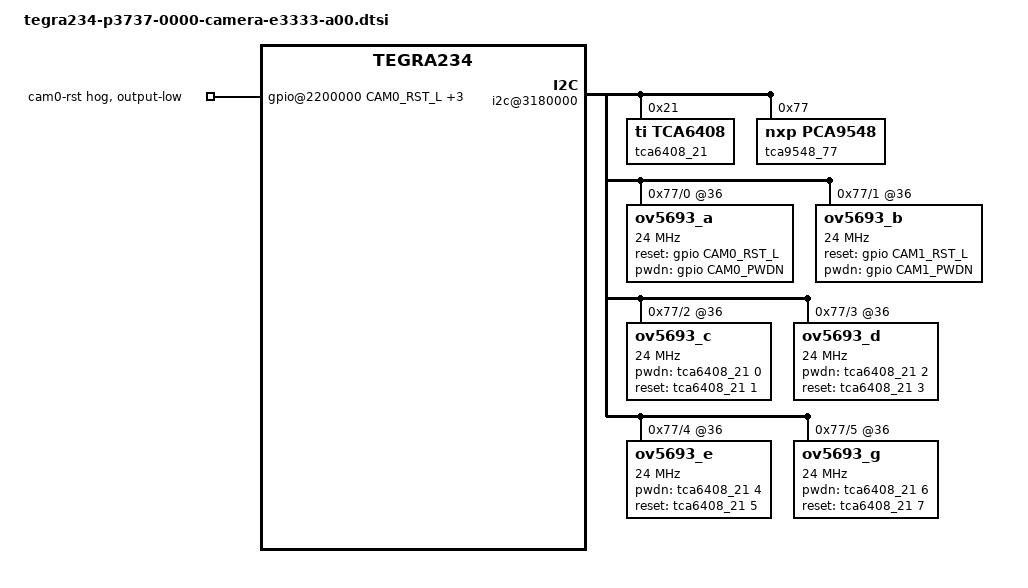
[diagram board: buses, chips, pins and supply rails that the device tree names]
// SPDX-License-Identifier: GPL-2.0
// Copyright (c) 2015-2023, NVIDIA CORPORATION & AFFILIATES. All rights reserved.

#include "tegra234-camera-e3333-a00.dtsi"
#include <dt-bindings/gpio/tegra234-gpio.h>

#define CAM0_RST_L	TEGRA234_MAIN_GPIO(H, 3)
#define CAM0_PWDN	TEGRA234_MAIN_GPIO(H, 6)
#define CAM1_RST_L	TEGRA234_MAIN_GPIO(AC, 1)
#define CAM1_PWDN	TEGRA234_MAIN_GPIO(AC, 0)
#define CAMERA_I2C_MUX_BUS(x) (0x1E + x)

/ {
	fragment-camera-e3333@0 {
		target-path = "/";
		__overlay__ {
			bus@0 {
				gpio@2200000 {
					camera-control-output-low {
						gpio-hog;
						output-low;
						gpios = <CAM0_RST_L 0 CAM0_PWDN 0
								CAM1_RST_L 0 CAM1_PWDN 0>;
						label = "cam0-rst", "cam0-pwdn",
								"cam1-rst", "cam1-pwdn";
					};
				};

				i2c@3180000 {
					tca6408_21: tca6408@21 {
						compatible = "ti,tca6408";
						gpio-controller;
						#gpio-cells = <2>;
						reg = <0x21>;
						tca6408_21_outlow {
							gpio-hog;
							gpios = <0 0 1 0 2 0 3 0 4 0 5 0 6 0 7 0>;
							output-low;
							label = "tca6408_21_outlow_0",
								"tca6408_21_outlow_1",
								"tca6408_21_outlow_2",
								"tca6408_21_outlow_3",
								"tca6408_21_outlow_4",
								"tca6408_21_outlow_5",
								"tca6408_21_outlow_6",
								"tca6408_21_outlow_7";
							status = "okay";
						};

					};

					tca9548_77: tca9548@77 {
						compatible = "nxp,pca9548";
						reg = <0x77>;
						#address-cells = <1>;
						#size-cells = <0>;
						/* vcc-supply = <&p3737_vdd_1v8_sys>; */
						skip_mux_detect;
						force_bus_start = <CAMERA_I2C_MUX_BUS(0)>;
						i2c@0 {
							reg = <0>;
							i2c-mux,deselect-on-exit;
							#address-cells = <1>;
							#size-cells = <0>;
							ov5693_a@36 {
								clocks = <&bpmp TEGRA234_CLK_EXTPERIPH1>,
										<&bpmp TEGRA234_CLK_PLLP_OUT0>;
								clock-names = "extperiph1", "pllp_grtba";
								mclk = "extperiph1";
								clock-frequency = <24000000>;
								reset-gpios = <&gpio CAM0_RST_L GPIO_ACTIVE_HIGH>;
								pwdn-gpios = <&gpio CAM0_PWDN GPIO_ACTIVE_HIGH>;
							};
						};
						i2c@1 {
							reg = <1>;
							i2c-mux,deselect-on-exit;
							#address-cells = <1>;
							#size-cells = <0>;
							ov5693_b@36 {
								clocks = <&bpmp TEGRA234_CLK_EXTPERIPH1>,
										<&bpmp TEGRA234_CLK_PLLP_OUT0>;
								clock-names = "extperiph1", "pllp_grtba";
								mclk = "extperiph1";
								clock-frequency = <24000000>;
								reset-gpios = <&gpio CAM1_RST_L GPIO_ACTIVE_HIGH>;
								pwdn-gpios = <&gpio CAM1_PWDN GPIO_ACTIVE_HIGH>;
							};
						};
						i2c@2 {
							reg = <2>;
							i2c-mux,deselect-on-exit;
							#address-cells = <1>;
							#size-cells = <0>;
							ov5693_c@36 {
								clocks = <&bpmp TEGRA234_CLK_EXTPERIPH1>,
										<&bpmp TEGRA234_CLK_PLLP_OUT0>;
								clock-names = "extperiph1", "pllp_grtba";
								mclk = "extperiph1";
								clock-frequency = <24000000>;
								pwdn-gpios = <&tca6408_21 0 GPIO_ACTIVE_HIGH>;
								reset-gpios = <&tca6408_21 1 GPIO_ACTIVE_HIGH>;
							};
						};
						i2c@3 {
							reg = <3>;
							i2c-mux,deselect-on-exit;
							#address-cells = <1>;
							#size-cells = <0>;
							ov5693_d@36 {
								clocks = <&bpmp TEGRA234_CLK_EXTPERIPH2>,
										<&bpmp TEGRA234_CLK_PLLP_OUT0>;
								clock-names = "extperiph2", "pllp_grtba";
								mclk = "extperiph2";
								clock-frequency = <24000000>;
								pwdn-gpios = <&tca6408_21 2 GPIO_ACTIVE_HIGH>;
								reset-gpios = <&tca6408_21 3 GPIO_ACTIVE_HIGH>;
							};
						};
						i2c@4 {
							reg = <4>;
							i2c-mux,deselect-on-exit;
							#address-cells = <1>;
							#size-cells = <0>;
							ov5693_e@36 {
								clocks = <&bpmp TEGRA234_CLK_EXTPERIPH2>,
										<&bpmp TEGRA234_CLK_PLLP_OUT0>;
								clock-names = "extperiph2", "pllp_grtba";
								mclk = "extperiph2";
								clock-frequency = <24000000>;
								pwdn-gpios = <&tca6408_21 4 GPIO_ACTIVE_HIGH>;
								reset-gpios = <&tca6408_21 5 GPIO_ACTIVE_HIGH>;
							};
						};
						i2c@5 {
							reg = <5>;
							i2c-mux,deselect-on-exit;
							#address-cells = <1>;
							#size-cells = <0>;
							ov5693_g@36 {
								clocks = <&bpmp TEGRA234_CLK_EXTPERIPH2>,
										<&bpmp TEGRA234_CLK_PLLP_OUT0>;
								clock-names = "extperiph2", "pllp_grtba";
								mclk = "extperiph2";
								clock-frequency = <24000000>;
								pwdn-gpios = <&tca6408_21 6 GPIO_ACTIVE_HIGH>;
								reset-gpios = <&tca6408_21 7 GPIO_ACTIVE_HIGH>;
							};
						};
					};
				};
			};
		};
	};
};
